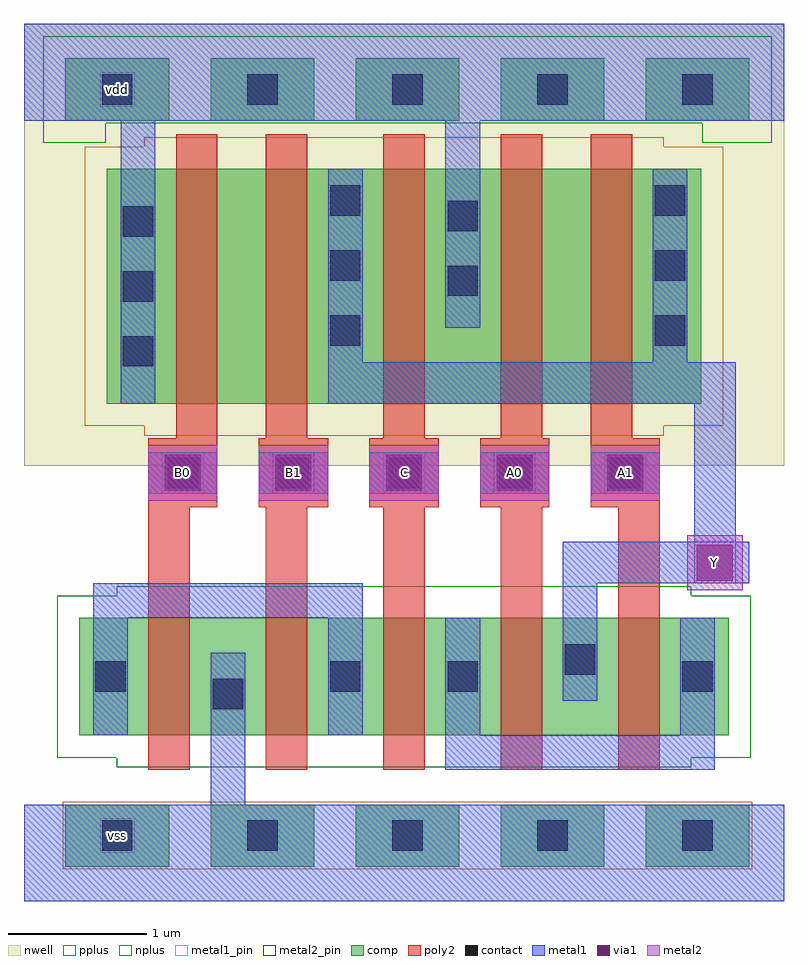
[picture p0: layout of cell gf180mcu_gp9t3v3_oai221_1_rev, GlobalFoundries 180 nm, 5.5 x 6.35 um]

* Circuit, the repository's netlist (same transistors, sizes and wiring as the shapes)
* NGSPICE file created from gf180mcu_gp9t3v3_oai221_1.ext - technology: gf180mcuD

.subckt gf180mcu_gp9t3v3_oai221_1 A0 A1 B0 B1 C Y vdd vss
X0 a_n110_n70# A1 Y vss nfet_03v3 ad=0.23375p pd=1.4u as=0.23375p ps=1.4u w=0.85u l=0.3u
X1 Y B1 a_560_410# vdd pfet_03v3 ad=0.85p pd=4.4u as=0.2125p ps=1.95u w=1.7u l=0.3u
X2 a_390_n70# C a_n110_n70# vss nfet_03v3 ad=0.23375p pd=1.4u as=0.23375p ps=1.4u w=0.85u l=0.3u
X3 a_390_n70# B1 vss vss nfet_03v3 ad=0.425p pd=2.7u as=0.23375p ps=1.4u w=0.85u l=0.3u
X4 a_110_410# A0 vdd vdd pfet_03v3 ad=0.2125p pd=1.95u as=0.85p ps=4.4u w=1.7u l=0.3u
X5 Y A1 a_110_410# vdd pfet_03v3 ad=0.4675p pd=2.25u as=0.2125p ps=1.95u w=1.7u l=0.3u
X6 vss B0 a_390_n70# vss nfet_03v3 ad=0.23375p pd=1.4u as=0.23375p ps=1.4u w=0.85u l=0.3u
X7 vdd C Y vdd pfet_03v3 ad=0.4675p pd=2.25u as=0.4675p ps=2.25u w=1.7u l=0.3u
X8 Y A0 a_n110_n70# vss nfet_03v3 ad=0.23375p pd=1.4u as=0.425p ps=2.7u w=0.85u l=0.3u
X9 a_560_410# B0 vdd vdd pfet_03v3 ad=0.2125p pd=1.95u as=0.4675p ps=2.25u w=1.7u l=0.3u
.ends

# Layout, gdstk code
import gdstk
lib = gdstk.Library(unit=1e-6, precision=1e-09)
def R(c, l, rs):  # rectangles x0, y0, x1, y1
    for r in rs: c.add(gdstk.rectangle(r[:2], r[2:], *l))
def A(c, l, x, y, w, h, nx, ny, dx, dy):  # array of equal rectangles
    R(c, l, [(x+i*dx, y+j*dy, x+i*dx+w, y+j*dy+h) for i in range(nx) for j in range(ny)])
nwell = (21, 0)
comp = (22, 0)
poly2 = (30, 0)
pplus = (31, 0)
nplus = (32, 0)
contact = (33, 0)
metal1 = (34, 0)
metal1_pin = (34, 10)
via1 = (35, 0)
metal2 = (36, 0)
metal2_pin = (36, 10)

gf180mcu_gp9t3v3_oai221_ = lib.new_cell('gf180mcu_gp9t3v3_oai221_1_rev')
R(gf180mcu_gp9t3v3_oai221_, nwell, [(-1,1.6,4.5,4.8)])
A(gf180mcu_gp9t3v3_oai221_, comp, -0.7, -1.3, 0.75, 0.45, 5, 2, 1.05, 5.4)
R(gf180mcu_gp9t3v3_oai221_, comp, [(-0.6,-0.35,4.1,0.5), (-0.4,2.05,3.9,3.75)])
A(gf180mcu_gp9t3v3_oai221_, poly2, -0.1, -0.6, 0.3, 1.9, 5, 1, 0.85, 0)
A(gf180mcu_gp9t3v3_oai221_, poly2, -0.1, 1.3, 0.5, 0.5, 5, 1, 0.8, 0)
A(gf180mcu_gp9t3v3_oai221_, poly2, 0.75, 1.8, 0.3, 2.2, 3, 1, 0.85, 0)
R(gf180mcu_gp9t3v3_oai221_, poly2, [(0.1,1.8,0.4,4), (3.1,1.8,3.4,4)])
R(gf180mcu_gp9t3v3_oai221_, pplus, [(-0.72,-1.32,4.27,-0.83), (-0.13,1.82,3.63,1.89), (-0.56,1.89,4.06,3.91), (-0.13,3.91,3.63,3.98)])
R(gf180mcu_gp9t3v3_oai221_, nplus, [(-0.33,-0.58,3.83,-0.51), (-0.76,-0.51,4.26,0.66), (-0.33,0.66,3.83,0.73), (-0.86,3.94,-0.41,4.08), (3.91,3.94,4.41,4.08), (-0.86,4.08,4.41,4.71)])
A(gf180mcu_gp9t3v3_oai221_, contact, -0.435, -1.185, 0.22, 0.22, 5, 2, 1.05, 5.4)
A(gf180mcu_gp9t3v3_oai221_, contact, 0.04, 1.44, 0.22, 0.22, 5, 1, 0.8, 0)
A(gf180mcu_gp9t3v3_oai221_, contact, -0.285, 2.32, 0.22, 0.22, 1, 3, 0, 0.47)
A(gf180mcu_gp9t3v3_oai221_, contact, 1.215, 2.47, 0.22, 0.22, 1, 3, 0, 0.47)
A(gf180mcu_gp9t3v3_oai221_, contact, 3.565, 2.47, 0.22, 0.22, 1, 3, 0, 0.47)
R(gf180mcu_gp9t3v3_oai221_, contact, [(0.365,-0.16,0.585,0.06), (-0.485,-0.035,-0.265,0.185), (1.215,-0.035,1.435,0.185), (2.065,-0.035,2.285,0.185), (3.765,-0.035,3.985,0.185), (2.915,0.09,3.135,0.31), (2.065,2.83,2.285,3.05), (2.065,3.3,2.285,3.52)])
A(gf180mcu_gp9t3v3_oai221_, metal1, -0.1, 1.4, 0.5, 0.3, 5, 1, 0.8, 0)
R(gf180mcu_gp9t3v3_oai221_, metal1, [(-1,-1.55,4.5,-0.85), (0.35,-0.85,0.6,0.25), (2.05,-0.6,4,-0.35), (-0.5,-0.35,-0.25,0.5), (1.2,-0.35,1.45,0.5), (2.05,-0.35,2.3,0.5), (3.75,-0.35,4,0.5), (2.9,-0.1,3.15,0.75), (-0.5,0.5,1.45,0.75), (2.9,0.75,4.25,1.05), (3.85,1.05,4.15,2.05), (-0.3,2.05,-0.05,4.1), (1.2,2.05,4.15,2.35), (1.2,2.35,1.45,3.75), (3.55,2.35,3.8,3.75), (2.05,2.6,2.3,4.1), (-1,4.1,4.5,4.8)])
R(gf180mcu_gp9t3v3_oai221_, metal1_pin, [(-0.45,-1.2,-0.2,-0.95), (-0.45,4.2,-0.2,4.45)])
A(gf180mcu_gp9t3v3_oai221_, via1, 0.02, 1.42, 0.26, 0.26, 5, 1, 0.8, 0)
R(gf180mcu_gp9t3v3_oai221_, via1, [(3.87,0.77,4.13,1.03)])
A(gf180mcu_gp9t3v3_oai221_, metal2, -0.1, 1.35, 0.5, 0.4, 5, 1, 0.8, 0)
R(gf180mcu_gp9t3v3_oai221_, metal2, [(3.8,0.7,4.2,1.1)])
A(gf180mcu_gp9t3v3_oai221_, metal2_pin, 0, 1.4, 0.3, 0.3, 5, 1, 0.8, 0)
R(gf180mcu_gp9t3v3_oai221_, metal2_pin, [(3.85,0.75,4.15,1.05)])
gf180mcu_gp9t3v3_oai221_.add(gdstk.Label('A0', (2.55,1.55), layer=36, texttype=10))
gf180mcu_gp9t3v3_oai221_.add(gdstk.Label('A1', (3.35,1.55), layer=36, texttype=10))
gf180mcu_gp9t3v3_oai221_.add(gdstk.Label('B0', (0.15,1.55), layer=36, texttype=10))
gf180mcu_gp9t3v3_oai221_.add(gdstk.Label('B1', (0.95,1.55), layer=36, texttype=10))
gf180mcu_gp9t3v3_oai221_.add(gdstk.Label('C', (1.75,1.55), layer=36, texttype=10))
gf180mcu_gp9t3v3_oai221_.add(gdstk.Label('Y', (4,0.9), layer=34, texttype=10))
gf180mcu_gp9t3v3_oai221_.add(gdstk.Label('vdd', (-0.325,4.325), layer=22, texttype=0))
gf180mcu_gp9t3v3_oai221_.add(gdstk.Label('vss', (-0.325,-1.075), layer=22, texttype=0))

lib.write_gds('gf180mcu_gp9t3v3_oai221_1_rev.gds')
